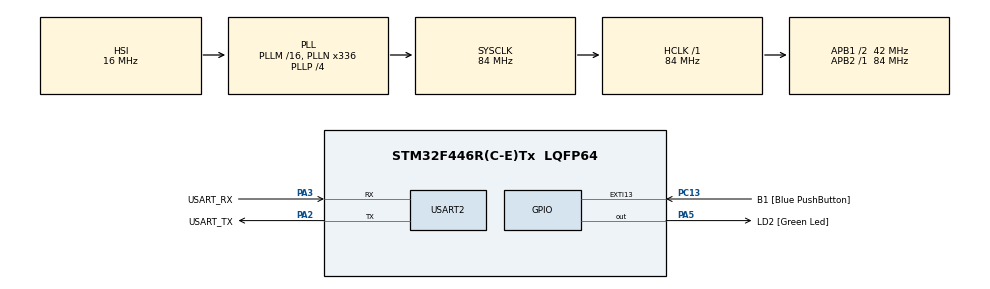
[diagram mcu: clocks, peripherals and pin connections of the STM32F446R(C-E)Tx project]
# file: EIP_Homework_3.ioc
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Mcu.Family=STM32F4
Mcu.Name=STM32F446R(C-E)Tx
Mcu.Package=LQFP64
NVIC.PriorityGroup=NVIC_PRIORITYGROUP_0
PA13.GPIO_Label=TMS
PA13.Mode=Serial_Wire
PA13.Signal=SYS_JTMS-SWDIO
PA14.GPIO_Label=TCK
PA14.Mode=Serial_Wire
PA14.Signal=SYS_JTCK-SWCLK
PA2.GPIO_Label=USART_TX
PA2.Mode=Asynchronous
PA2.Signal=USART2_TX
PA3.GPIO_Label=USART_RX
PA3.Mode=Asynchronous
PA3.Signal=USART2_RX
PA5.GPIO_Label=LD2 [Green Led]
PA5.Signal=GPIO_Output
PB3.GPIO_Label=SWO
PB3.Signal=SYS_JTDO-SWO
PC13.GPIO_Label=B1 [Blue PushButton]
PC13.GPIO_ModeDefaultEXTI=GPIO_MODE_IT_FALLING
PC13.Signal=GPXTI13
PC14-OSC32_IN.Mode=LSE-External-Oscillator
PC14-OSC32_IN.Signal=RCC_OSC32_IN
PC15-OSC32_OUT.Mode=LSE-External-Oscillator
PC15-OSC32_OUT.Signal=RCC_OSC32_OUT
PH0-OSC_IN.Mode=HSE-External-Oscillator
PH0-OSC_IN.Signal=RCC_OSC_IN
PH1-OSC_OUT.Mode=HSE-External-Oscillator
PH1-OSC_OUT.Signal=RCC_OSC_OUT
ProjectManager.HeapSize=0x200
ProjectManager.StackSize=0x400
ProjectManager.TargetToolchain=STM32CubeIDE
RCC.48MHZClocksFreq_Value=84000000
RCC.AHBFreq_Value=84000000
RCC.APB1CLKDivider=RCC_HCLK_DIV2
RCC.APB1Freq_Value=42000000
RCC.APB1TimFreq_Value=84000000
RCC.APB2Freq_Value=84000000
RCC.APB2TimFreq_Value=84000000
RCC.CortexFreq_Value=84000000
RCC.FLatency-AdvancedSettings=FLASH_LATENCY_2
RCC.HCLKFreq_Value=84000000
RCC.HSE_VALUE=8000000
RCC.HSI_VALUE=16000000
RCC.PLLN=336
RCC.PLLP=RCC_PLLP_DIV4
RCC.SYSCLKFreq_VALUE=84000000
RCC.SYSCLKSource=RCC_SYSCLKSOURCE_PLLCLK
RCC.USBFreq_Value=168000000
RCC.VCOOutputFreq_Value=336000000
USART2.VirtualMode=VM_ASYNC
board=NUCLEO-F446RE

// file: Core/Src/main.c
/* USER CODE BEGIN Header */
/**
  ******************************************************************************
  * @file           : main.c
  * @brief          : Main program body - EE4065 HW3
  * @author         : Taner Kahyaoğlu
  * @date           : December 2025
  ******************************************************************************
  */
/* USER CODE END Header */

#include "main.h"

/* USER CODE BEGIN Includes */
#include "lib_image.h"
#include "lib_serialimage.h"
#include "string.h"
/* USER CODE END Includes */

/* USER CODE BEGIN PD */
#define IMG_WIDTH   128
#define IMG_HEIGHT  128
#define IMG_PIXELS  (IMG_WIDTH * IMG_HEIGHT)
/* USER CODE END PD */

UART_HandleTypeDef huart2;

/* USER CODE BEGIN PV */
/* =============================================================================
 * GLOBAL BUFFERS
 * =============================================================================
 */
uint32_t g_histogram_data[256];         // Histogram Array
uint8_t  g_processed_image[IMG_PIXELS]; // Destination Buffer for Morphology
uint8_t  g_tmp_image[IMG_PIXELS];       // Temp Buffer for Compound Operations

// Main Image Buffer (Double size to support RGB565)
volatile uint8_t pImage[IMG_PIXELS];

IMAGE_HandleTypeDef img;
/* USER CODE END PV */

void SystemClock_Config(void);
static void MX_GPIO_Init(void);
static void MX_USART2_UART_Init(void);

/* USER CODE BEGIN PFP */
/* =============================================================================
 * HOMEWORK FUNCTION PROTOTYPES
 * =============================================================================
 */
// HW2 Helper
void Homework_Calculate_Histogram(uint8_t* p_gray, uint32_t* p_hist, uint32_t width, uint32_t height);

// HW3 - Q1/Q2: Otsu Thresholding
uint8_t Homework_Compute_Otsu_Threshold(uint32_t* p_hist, uint32_t total_pixels);
void Homework_Apply_Threshold(uint8_t* p_gray, uint32_t width, uint32_t height, uint8_t threshold);

// HW3 - Q3: Morphological Operations
void Homework_Dilation_3x3(uint8_t* p_src, uint8_t* p_dst, uint32_t width, uint32_t height);
void Homework_Erosion_3x3(uint8_t* p_src, uint8_t* p_dst, uint32_t width, uint32_t height);
void Homework_Opening_3x3(uint8_t* p_src, uint8_t* p_dst, uint32_t width, uint32_t height, uint8_t* p_tmp);
void Homework_Closing_3x3(uint8_t* p_src, uint8_t* p_dst, uint32_t width, uint32_t height, uint8_t* p_tmp);
/* USER CODE END PFP */

int main(void)
{

  /* MCU Configuration--------------------------------------------------------*/
  HAL_Init();

  /* Configure the system clock */
  SystemClock_Config();

  /* Initialize all configured peripherals */
  MX_GPIO_Init();
  MX_USART2_UART_Init();

  /* USER CODE BEGIN 2 */
  // Image structure initialization is handled inside the specific Question blocks
  // to support both Grayscale (Q1, Q3) and RGB565 (Q2).
  /* USER CODE END 2 */

  /* Infinite loop */
  while (1)
  {

    /* USER CODE BEGIN 3 */

    /* =========================================================================
     * QUESTION 1: OTSU THRESHOLDING (GRAYSCALE)
     * =========================================================================
     * - Receives Grayscale Image
     * - Calculates Single Otsu Threshold
     * - Binarizes the Image
     */
#if 0  // Set to 1 to ENABLE Q1, 0 to DISABLE
    img.format = IMAGE_FORMAT_GRAYSCALE;
    LIB_IMAGE_InitStruct(&img, (uint8_t*)pImage, IMG_HEIGHT, IMG_WIDTH, IMAGE_FORMAT_GRAYSCALE);

    if (LIB_SERIAL_IMG_Receive(&img) == SERIAL_OK)
    {
      // 1. Calculate Histogram
      Homework_Calculate_Histogram((uint8_t*)pImage, g_histogram_data, IMG_WIDTH, IMG_HEIGHT);

      // 2. Find Optimal Threshold
      uint8_t otsu_T = Homework_Compute_Otsu_Threshold(g_histogram_data, IMG_PIXELS);

      // 3. Apply Threshold
      Homework_Apply_Threshold((uint8_t*)pImage, IMG_WIDTH, IMG_HEIGHT, otsu_T);

      // 4. Send Result
      LIB_SERIAL_IMG_Transmit(&img);
    }
#endif

    /* =========================================================================
     * QUESTION 2: MULTI-CHANNEL OTSU (RGB565)
     * =========================================================================
     * - Receives RGB565 Image
     * - Calculates separate thresholds for R, G, B channels
     * - Reconstructs the image based on channel thresholds
     */
#if 0   // Set to 1 to ENABLE Q2, 0 to DISABLE
    img.format = IMAGE_FORMAT_RGB565;
    LIB_IMAGE_InitStruct(&img, (uint8_t*)pImage, IMG_HEIGHT, IMG_WIDTH, IMAGE_FORMAT_RGB565);

    if (LIB_SERIAL_IMG_Receive(&img) == SERIAL_OK)
    {
        uint16_t* p_src_rgb = (uint16_t*)pImage;

        // Static buffers to prevent stack overflow
        static uint32_t histR[256];
        static uint32_t histG[256];
        static uint32_t histB[256];

        // 1. Clear Histograms
        memset(histR, 0, 256 * sizeof(uint32_t));
        memset(histG, 0, 256 * sizeof(uint32_t));
        memset(histB, 0, 256 * sizeof(uint32_t));

        // 2. Build Histograms for R, G, B
        for (uint32_t i = 0; i < IMG_PIXELS; i++)
        {
            uint16_t pixel = p_src_rgb[i];
            uint8_t r = ((pixel >> 11) & 0x1F) << 3;
            uint8_t g = ((pixel >> 5)  & 0x3F) << 2;
            uint8_t b = ((pixel)       & 0x1F) << 3;

            histR[r]++; histG[g]++; histB[b]++;
        }

        // 3. Compute Thresholds per Channel
        uint8_t T_red   = Homework_Compute_Otsu_Threshold(histR, IMG_PIXELS);
        uint8_t T_green = Homework_Compute_Otsu_Threshold(histG, IMG_PIXELS);
        uint8_t T_blue  = Homework_Compute_Otsu_Threshold(histB, IMG_PIXELS);

        // 4. Apply Thresholds & Reconstruct
        for (uint32_t i = 0; i < IMG_PIXELS; i++)
        {
            uint16_t pixel = p_src_rgb[i];
            uint8_t r = ((pixel >> 11) & 0x1F) << 3;
            uint8_t g = ((pixel >> 5)  & 0x3F) << 2;
            uint8_t b = ((pixel)       & 0x1F) << 3;

            // Set to Max if > Threshold, else 0
            uint16_t new_r = (r > T_red)   ? 0x1F : 0;
            uint16_t new_g = (g > T_green) ? 0x3F : 0;
            uint16_t new_b = (b > T_blue)  ? 0x1F : 0;

            p_src_rgb[i] = (new_r << 11) | (new_g << 5) | (new_b);
        }

        LIB_SERIAL_IMG_Transmit(&img);
    }
#endif

    /* =========================================================================
     * QUESTION 3: MORPHOLOGICAL OPERATIONS
     * =========================================================================
     * - Receives Grayscale Image
     * - Auto-Binarizes using Otsu
     * - Applies selected Morphological Filter
     */
#if 1   // Set to 1 to ENABLE Q3, 0 to DISABLE
    img.format = IMAGE_FORMAT_GRAYSCALE;
    LIB_IMAGE_InitStruct(&img, (uint8_t*)pImage, IMG_HEIGHT, IMG_WIDTH, IMAGE_FORMAT_GRAYSCALE);

    if (LIB_SERIAL_IMG_Receive(&img) == SERIAL_OK)
    {
      // STEP 1: Pre-processing (Otsu Binarization)
      Homework_Calculate_Histogram((uint8_t*)pImage, g_histogram_data, IMG_WIDTH, IMG_HEIGHT);
      uint8_t otsu_T = Homework_Compute_Otsu_Threshold(g_histogram_data, IMG_PIXELS);
      Homework_Apply_Threshold((uint8_t*)pImage, IMG_WIDTH, IMG_HEIGHT, otsu_T);

      // STEP 2: Apply Morphology (Select ONE active block below)

#if 0 // --- Dilation ---
      Homework_Dilation_3x3((uint8_t*)pImage, g_processed_image, IMG_WIDTH, IMG_HEIGHT);
      memcpy((uint8_t*)pImage, g_processed_image, IMG_PIXELS);
#endif

#if 0 // --- Erosion ---
      Homework_Erosion_3x3((uint8_t*)pImage, g_processed_image, IMG_WIDTH, IMG_HEIGHT);
      memcpy((uint8_t*)pImage, g_processed_image, IMG_PIXELS);
#endif

#if 0 // --- Opening ---
      Homework_Opening_3x3((uint8_t*)pImage, g_processed_image, IMG_WIDTH, IMG_HEIGHT, g_tmp_image);
      memcpy((uint8_t*)pImage, g_processed_image, IMG_PIXELS);
#endif

#if 1 // --- Closing ---
      Homework_Closing_3x3((uint8_t*)pImage, g_processed_image, IMG_WIDTH, IMG_HEIGHT, g_tmp_image);
      memcpy((uint8_t*)pImage, g_processed_image, IMG_PIXELS);
#endif

      // STEP 3: Send Result
      LIB_SERIAL_IMG_Transmit(&img);
    }
#endif

    /* USER CODE END 3 */
  }
}

void SystemClock_Config(void)
{
  RCC_OscInitTypeDef RCC_OscInitStruct = {0};
  RCC_ClkInitTypeDef RCC_ClkInitStruct = {0};

  /** Configure the main internal regulator output voltage */
  __HAL_RCC_PWR_CLK_ENABLE();
  __HAL_PWR_VOLTAGESCALING_CONFIG(PWR_REGULATOR_VOLTAGE_SCALE3);

  /** Initializes the RCC Oscillators */
  RCC_OscInitStruct.OscillatorType = RCC_OSCILLATORTYPE_HSI;
  RCC_OscInitStruct.HSIState = RCC_HSI_ON;
  RCC_OscInitStruct.HSICalibrationValue = RCC_HSICALIBRATION_DEFAULT;
  RCC_OscInitStruct.PLL.PLLState = RCC_PLL_ON;
  RCC_OscInitStruct.PLL.PLLSource = RCC_PLLSOURCE_HSI;
  RCC_OscInitStruct.PLL.PLLM = 16;
  RCC_OscInitStruct.PLL.PLLN = 336;
  RCC_OscInitStruct.PLL.PLLP = RCC_PLLP_DIV4;
  RCC_OscInitStruct.PLL.PLLQ = 2;
  RCC_OscInitStruct.PLL.PLLR = 2;
  if (HAL_RCC_OscConfig(&RCC_OscInitStruct) != HAL_OK)
  {
    Error_Handler();
  }

  /** Initializes the CPU, AHB and APB buses clocks */
  RCC_ClkInitStruct.ClockType = RCC_CLOCKTYPE_HCLK|RCC_CLOCKTYPE_SYSCLK
                              |RCC_CLOCKTYPE_PCLK1|RCC_CLOCKTYPE_PCLK2;
  RCC_ClkInitStruct.SYSCLKSource = RCC_SYSCLKSOURCE_PLLCLK;
  RCC_ClkInitStruct.AHBCLKDivider = RCC_SYSCLK_DIV1;
  RCC_ClkInitStruct.APB1CLKDivider = RCC_HCLK_DIV2;
  RCC_ClkInitStruct.APB2CLKDivider = RCC_HCLK_DIV1;

  if (HAL_RCC_ClockConfig(&RCC_ClkInitStruct, FLASH_LATENCY_2) != HAL_OK)
  {
    Error_Handler();
  }
}

static void MX_USART2_UART_Init(void)
{
  huart2.Instance = USART2;
  huart2.Init.BaudRate   = 2000000;
  huart2.Init.WordLength = UART_WORDLENGTH_8B;
  huart2.Init.StopBits   = UART_STOPBITS_1;
  huart2.Init.Parity     = UART_PARITY_NONE;
  huart2.Init.Mode       = UART_MODE_TX_RX;
  huart2.Init.HwFlowCtl  = UART_HWCONTROL_NONE;
  huart2.Init.OverSampling = UART_OVERSAMPLING_16;
  if (HAL_UART_Init(&huart2) != HAL_OK)
  {
    Error_Handler();
  }
}

static void MX_GPIO_Init(void)
{
  GPIO_InitTypeDef GPIO_InitStruct = {0};

  __HAL_RCC_GPIOC_CLK_ENABLE();
  __HAL_RCC_GPIOH_CLK_ENABLE();
  __HAL_RCC_GPIOA_CLK_ENABLE();
  __HAL_RCC_GPIOB_CLK_ENABLE();

  HAL_GPIO_WritePin(LD2_GPIO_Port, LD2_Pin, GPIO_PIN_RESET);

  GPIO_InitStruct.Pin = B1_Pin;
  GPIO_InitStruct.Mode = GPIO_MODE_IT_FALLING;
  GPIO_InitStruct.Pull = GPIO_NOPULL;
  HAL_GPIO_Init(B1_GPIO_Port, &GPIO_InitStruct);

  GPIO_InitStruct.Pin = LD2_Pin;
  GPIO_InitStruct.Mode = GPIO_MODE_OUTPUT_PP;
  GPIO_InitStruct.Pull = GPIO_NOPULL;
  GPIO_InitStruct.Speed = GPIO_SPEED_FREQ_LOW;
  HAL_GPIO_Init(LD2_GPIO_Port, &GPIO_InitStruct);
}

/* USER CODE BEGIN 4 */

/* =============================================================================
 * HW2 Helper: Calculate Histogram
 * =============================================================================
 */
void Homework_Calculate_Histogram(uint8_t* p_gray, uint32_t* p_hist,
                                  uint32_t width, uint32_t height)
{
  uint32_t i;
  uint32_t total_pixels = width * height;

  // 1. Initialize histogram array to 0
  for (i = 0; i < 256; i++)
    p_hist[i] = 0;

  // 2. Count pixel intensities
  for (i = 0; i < total_pixels; i++)
  {
    uint8_t pixel_value = p_gray[i];
    p_hist[pixel_value]++;
  }
}

/* =============================================================================
 * HW3: Compute Otsu Threshold
 * Calculates the optimal threshold that maximizes between-class variance.
 * =============================================================================
 */
uint8_t Homework_Compute_Otsu_Threshold(uint32_t* p_hist, uint32_t total_pixels)
{
  uint32_t sum_all = 0;
  uint32_t sumB = 0;
  uint32_t wB = 0;
  uint32_t wF = 0;
  float mB, mF;
  float var_between;
  float max_var_between = 0.0f;
  uint8_t threshold = 0;

  // Calculate total moment
  for (uint32_t i = 0; i < 256; i++)
    sum_all += i * p_hist[i];

  // Iterate through all possible thresholds
  for (uint32_t t = 0; t < 256; t++)
  {
    wB += p_hist[t];
    if (wB == 0) continue;

    wF = total_pixels - wB;
    if (wF == 0) break;

    sumB += t * p_hist[t];

    mB = (float)sumB / (float)wB;
    mF = (float)(sum_all - sumB) / (float)wF;

    // Calculate Between Class Variance
    float diff = mB - mF;
    var_between = (float)wB * (float)wF * diff * diff;

    if (var_between > max_var_between)
    {
      max_var_between = var_between;
      threshold = (uint8_t)t;
    }
  }
  return threshold;
}

/* =============================================================================
 * HW3: Apply Threshold (Binarization)
 * =============================================================================
 */
void Homework_Apply_Threshold(uint8_t* p_gray, uint32_t width,
                              uint32_t height, uint8_t threshold)
{
  uint32_t total_pixels = width * height;

  for (uint32_t i = 0; i < total_pixels; i++)
  {
    if (p_gray[i] > threshold)
      p_gray[i] = 255;
    else
      p_gray[i] = 0;
  }
}

/* =============================================================================
 * HW3: Dilation (Max Filter)
 * Set pixel to 255 if any neighbor is 255.
 * =============================================================================
 */
void Homework_Dilation_3x3(uint8_t* p_src, uint8_t* p_dst,
                           uint32_t width, uint32_t height)
{
  for (uint32_t y = 0; y < height; y++)
  {
    for (uint32_t x = 0; x < width; x++)
    {
      // Boundary Check: Ignore borders for simplicity (or padding logic)
      if (y == 0 || y == height - 1 || x == 0 || x == width - 1)
      {
        p_dst[y * width + x] = 0;
      }
      else
      {
        uint8_t max_val = 0;
        // Iterate 3x3 kernel
        for (int ky = -1; ky <= 1; ky++)
        {
          for (int kx = -1; kx <= 1; kx++)
          {
            uint8_t v = p_src[(y + ky) * width + (x + kx)];
            if (v > max_val) max_val = v;
          }
        }
        p_dst[y * width + x] = max_val;
      }
    }
  }
}

/* =============================================================================
 * HW3: Erosion (Min Filter)
 * Set pixel to 255 only if all neighbors are 255.
 * =============================================================================
 */
void Homework_Erosion_3x3(uint8_t* p_src, uint8_t* p_dst,
                          uint32_t width, uint32_t height)
{
  for (uint32_t y = 0; y < height; y++)
  {
    for (uint32_t x = 0; x < width; x++)
    {
      if (y == 0 || y == height - 1 || x == 0 || x == width - 1)
      {
        p_dst[y * width + x] = 0;
      }
      else
      {
        uint8_t min_val = 255;
        // Iterate 3x3 kernel
        for (int ky = -1; ky <= 1; ky++)
        {
          for (int kx = -1; kx <= 1; kx++)
          {
            uint8_t v = p_src[(y + ky) * width + (x + kx)];
            if (v < min_val) min_val = v;
          }
        }
        p_dst[y * width + x] = min_val;
      }
    }
  }
}

/* =============================================================================
 * HW3: Opening (Erosion followed by Dilation)
 * Removes small noise (salt).
 * =============================================================================
 */
void Homework_Opening_3x3(uint8_t* p_src, uint8_t* p_dst,
                          uint32_t width, uint32_t height,
                          uint8_t* p_tmp)
{
  Homework_Erosion_3x3(p_src, p_tmp, width, height);  // Step 1 -> Temp
  Homework_Dilation_3x3(p_tmp, p_dst, width, height); // Step 2 -> Dest
}

/* =============================================================================
 * HW3: Closing (Dilation followed by Erosion)
 * Fills small holes (pepper).
 * =============================================================================
 */
void Homework_Closing_3x3(uint8_t* p_src, uint8_t* p_dst,
                          uint32_t width, uint32_t height,
                          uint8_t* p_tmp)
{
  Homework_Dilation_3x3(p_src, p_tmp, width, height); // Step 1 -> Temp
  Homework_Erosion_3x3(p_tmp, p_dst, width, height);  // Step 2 -> Dest
}

/* USER CODE END 4 */

void Error_Handler(void)
{
  __disable_irq();
  while (1)
  {
  }
}
